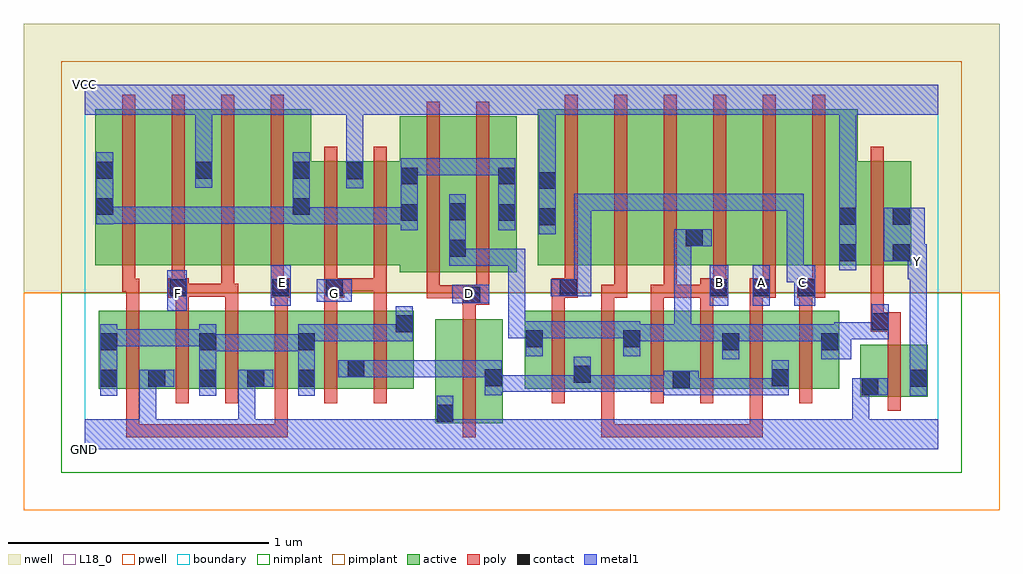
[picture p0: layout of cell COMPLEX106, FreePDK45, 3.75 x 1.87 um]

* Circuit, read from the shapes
.subckt COMPLEX106 A B C D E F G GND VCC Y
M1 GND E n1 VSUBS nfet w=0.3u l=0.05u m=2
M2 n1 F GND VSUBS nfet w=0.3u l=0.05u m=2
M3 n2 G n1 VSUBS nfet w=0.3u l=0.05u m=2
M4 n2 D GND VSUBS nfet w=0.4u l=0.05u
M5 n2 C n3 VSUBS nfet w=0.3u l=0.05u m=2
M6 n3 A n2 VSUBS nfet w=0.3u l=0.05u m=2
M7 n2 B n3 VSUBS nfet w=0.3u l=0.05u m=2
M8 Y n3 GND VSUBS nfet w=0.2u l=0.05u
M9 n4 E n5 n6 pfet w=0.6u l=0.05u
M10 VCC F n4 n6 pfet w=0.6u l=0.05u
M11 n7 F VCC n6 pfet w=0.6u l=0.05u
M12 n5 E n7 n6 pfet w=0.6u l=0.05u
M13 VCC G n5 n6 pfet w=0.4u l=0.05u m=2
M14 n3 D n5 n6 pfet w=0.6u l=0.05u m=2
M15 n8 C VCC n6 pfet w=0.6u l=0.05u
M16 n9 A n8 n6 pfet w=0.6u l=0.05u
M17 n3 B n9 n6 pfet w=0.6u l=0.05u
M18 n10 B n3 n6 pfet w=0.6u l=0.05u
M19 n11 A n10 n6 pfet w=0.6u l=0.05u
M20 VCC C n11 n6 pfet w=0.6u l=0.05u
M21 Y n3 VCC n6 pfet w=0.4u l=0.05u
.ends

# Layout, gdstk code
import gdstk
lib = gdstk.Library(unit=1e-6, precision=1e-09)
def R(c, l, rs):  # rectangles x0, y0, x1, y1
    for r in rs: c.add(gdstk.rectangle(r[:2], r[2:], *l))
def A(c, l, x, y, w, h, nx, ny, dx, dy):  # array of equal rectangles
    R(c, l, [(x+i*dx, y+j*dy, x+i*dx+w, y+j*dy+h) for i in range(nx) for j in range(ny)])
active = (1, 0)
pwell = (2, 0)
nwell = (3, 0)
nimplant = (4, 0)
pimplant = (5, 0)
poly = (9, 0)
contact = (10, 0)
metal1 = (11, 0)
L18_0 = (18, 0)
boundary = (235, 0)

complex106 = lib.new_cell('COMPLEX106')
A(complex106, active, 1.875, 0.232, 0.265, 0.3, 5, 1, 0.19, 0)
A(complex106, active, 1.875, 0.232, 0.075, 0.285, 3, 1, 0.38, 0)
R(complex106, active, [(1.347,0.1,1.607,0.5), (1.347,0.1,1.422,0.5), (1.532,0.147,1.607,0.5), (2.98,0.202,3.24,0.402), (2.98,0.202,3.055,0.402), (0.055,0.232,0.315,0.532), (0.24,0.232,0.51,0.532), (0.24,0.232,0.315,0.437), (0.435,0.232,0.51,0.517), (0.435,0.232,0.695,0.532), (0.62,0.232,0.89,0.532), (0.62,0.232,0.695,0.437), (0.815,0.232,1.08,0.532), (0.815,0.232,0.89,0.517), (1.005,0.232,1.08,0.517), (1.005,0.232,1.265,0.532), (1.69,0.232,1.95,0.532), (0.055,0.235,0.13,0.532), (2.825,0.235,2.9,0.532), (3.165,0.235,3.24,0.402), (1.19,0.247,1.265,0.532), (1.69,0.247,1.765,0.532), (2.065,0.247,2.14,0.462), (2.445,0.247,2.52,0.45), (1.21,0.68,1.47,1.28), (1.395,0.68,1.66,1.28), (1.395,0.68,1.47,1.07), (1.585,0.68,1.66,1.2), (0.04,0.707,0.265,1.307), (0.04,0.707,0.145,1.2), (0.265,0.707,0.495,1.307), (0.42,0.707,0.645,1.307), (0.42,0.707,0.495,1.307), (0.645,0.707,0.87,1.307), (0.795,0.707,1.075,1.107), (0.795,0.707,0.87,1.2), (1,0.707,1.285,1.107), (1.21,0.707,1.285,1.2), (1.74,0.707,1.965,1.307), (1.74,0.707,1.815,1.307), (1.965,0.707,2.155,1.307), (2.155,0.707,2.38,1.307), (2.305,0.707,2.535,1.307), (2.305,0.707,2.38,1.07), (2.535,0.707,2.725,1.307), (2.725,0.707,2.97,1.307), (2.895,0.707,2.97,1.057), (2.895,0.707,3.175,1.107), (3.1,0.707,3.175,1.057), (1,0.827,1.075,1.107)])
R(complex106, pwell, [(-0.235,-0.235,3.515,0.602)])
R(complex106, nwell, [(-0.235,0.602,3.515,1.635)])
R(complex106, nimplant, [(-0.09,-0.09,3.37,0.602)])
R(complex106, pimplant, [(-0.09,0.602,3.37,1.49)])
A(complex106, poly, 0.16, 0.177, 0.05, 0.41, 6, 1, 0.19, 0)
A(complex106, poly, 1.795, 0.177, 0.05, 0.41, 6, 1, 0.19, 0)
A(complex106, poly, 1.795, 0.537, 0.05, 0.095, 6, 1, 0.19, 0)
A(complex106, poly, 2.415, 0.607, 0.05, 0.095, 3, 1, 0.19, 0)
A(complex106, poly, 0.145, 0.652, 0.05, 0.71, 4, 1, 0.19, 0)
A(complex106, poly, 1.845, 0.652, 0.05, 0.71, 6, 1, 0.19, 0)
R(complex106, poly, [(0.16,0.045,0.21,0.227), (0.16,0.045,0.21,0.095), (0.16,0.045,0.402,0.095), (0.352,0.045,0.402,0.095), (0.352,0.045,0.402,0.095), (0.352,0.045,0.402,0.095), (0.352,0.045,0.535,0.095), (0.485,0.045,0.535,0.095), (0.485,0.045,0.535,0.095), (0.485,0.045,0.535,0.095), (0.485,0.045,0.78,0.095), (0.73,0.045,0.78,0.227), (0.73,0.045,0.78,0.095), (0.73,0.045,0.78,0.095), (0.73,0.045,0.78,0.095), (1.452,0.045,1.502,0.555), (1.985,0.045,2.035,0.227), (1.985,0.045,2.035,0.095), (1.985,0.045,2.035,0.095), (1.985,0.045,2.035,0.095), (1.985,0.045,2.282,0.095), (2.232,0.045,2.282,0.095), (2.232,0.045,2.282,0.095), (2.232,0.045,2.282,0.095), (2.232,0.045,2.415,0.095), (2.365,0.045,2.605,0.095), (2.365,0.045,2.415,0.095), (2.365,0.045,2.415,0.095), (2.365,0.045,2.415,0.095), (2.555,0.045,2.605,0.227), (2.555,0.045,2.605,0.095), (3.085,0.147,3.135,0.457), (3.085,0.407,3.135,0.502), (3.02,0.452,3.135,0.527), (3.02,0.477,3.07,0.702), (1.452,0.505,1.502,0.605), (0.16,0.537,0.21,0.655), (0.35,0.537,0.4,0.632), (0.54,0.537,0.59,0.635), (0.73,0.537,0.78,0.632), (0.92,0.537,0.97,0.632), (1.11,0.537,1.16,0.657), (1.45,0.555,1.555,0.63), (1.315,0.58,1.365,0.675), (1.315,0.58,1.365,0.63), (1.315,0.58,1.5,0.63), (1.45,0.58,1.5,0.63), (1.45,0.58,1.5,0.63), (1.505,0.58,1.555,0.675), (0.322,0.582,0.4,0.657), (0.715,0.582,0.79,0.657), (0.92,0.582,0.997,0.657), (1.795,0.582,1.895,0.657), (1.985,0.582,2.085,0.632), (2.035,0.582,2.085,0.702), (2.175,0.582,2.275,0.632), (2.225,0.582,2.275,0.632), (2.225,0.582,2.275,0.632), (2.225,0.582,2.415,0.632), (2.225,0.582,2.275,0.702), (2.365,0.582,2.472,0.657), (2.555,0.582,2.655,0.657), (2.737,0.582,2.845,0.657), (0.35,0.585,0.575,0.635), (0.525,0.585,0.575,0.635), (0.525,0.585,0.575,0.635), (0.525,0.585,0.575,0.702), (0.525,0.585,0.59,0.635), (0.145,0.605,0.21,0.655), (0.145,0.605,0.195,0.702), (0.335,0.607,0.385,0.702), (0.715,0.607,0.765,0.702), (0.92,0.607,0.97,0.702), (0.947,0.607,0.997,0.657), (0.947,0.607,0.997,0.657), (0.947,0.607,1.16,0.657), (1.11,0.607,1.16,0.702), (1.11,0.607,1.16,0.657), (1.845,0.607,1.895,0.702), (1.315,0.625,1.365,1.335), (1.505,0.625,1.555,1.335), (0.92,0.652,0.97,1.162), (1.11,0.652,1.16,1.162), (3.02,0.652,3.07,1.162)])
A(complex106, contact, 0.06, 0.38, 0.065, 0.065, 3, 1, 0.38, 0)
R(complex106, contact, [(1.352,0.105,1.417,0.17), (2.985,0.207,3.05,0.272), (2.26,0.237,2.325,0.302), (0.06,0.24,0.125,0.305), (0.245,0.24,0.31,0.305), (0.44,0.24,0.505,0.305), (0.625,0.24,0.69,0.305), (0.82,0.24,0.885,0.305), (3.17,0.24,3.235,0.305), (1.537,0.242,1.602,0.307), (2.64,0.242,2.705,0.307), (1.88,0.255,1.945,0.32), (1.01,0.277,1.075,0.342), (2.45,0.38,2.515,0.445), (2.83,0.38,2.895,0.445), (1.695,0.392,1.76,0.457), (2.07,0.392,2.135,0.457), (1.195,0.45,1.26,0.515), (3.025,0.457,3.09,0.522), (1.455,0.56,1.52,0.625), (0.327,0.587,0.392,0.652), (0.72,0.587,0.785,0.652), (0.927,0.587,0.992,0.652), (1.825,0.587,1.89,0.652), (2.402,0.587,2.467,0.652), (2.567,0.587,2.632,0.652), (2.742,0.587,2.807,0.652), (2.9,0.722,2.965,0.787), (3.105,0.722,3.17,0.787), (1.4,0.74,1.465,0.805), (2.31,0.78,2.375,0.845), (1.745,0.86,1.81,0.925), (2.9,0.862,2.965,0.927), (3.105,0.862,3.17,0.927), (1.215,0.877,1.28,0.942), (1.59,0.877,1.655,0.942), (1.4,0.88,1.465,0.945), (0.045,0.9,0.11,0.965), (0.8,0.9,0.865,0.965), (1.745,1,1.81,1.065), (1.215,1.017,1.28,1.082), (1.59,1.017,1.655,1.082), (1.005,1.037,1.07,1.102), (0.045,1.04,0.11,1.105), (0.425,1.04,0.49,1.105), (0.8,1.04,0.865,1.105)])
A(complex106, metal1, 0.06, 0.205, 0.065, 0.275, 3, 1, 0.38, 0)
R(complex106, metal1, [(0,0,3.28,0.115), (0.21,0.05,0.275,0.115), (0.21,0.05,0.275,0.115), (0.21,0.05,0.275,0.305), (0.59,0.05,0.655,0.305), (1.352,0.05,1.417,0.135), (2.95,0.05,3.015,0.115), (2.95,0.05,3.015,0.115), (2.95,0.05,3.015,0.115), (2.95,0.05,3.015,0.115), (2.95,0.05,3.015,0.272), (1.352,0.07,1.417,0.205), (3.17,0.205,3.235,0.34), (1.537,0.207,1.602,0.342), (2.225,0.207,2.36,0.302), (2.295,0.207,2.427,0.272), (2.362,0.207,2.427,0.272), (2.362,0.207,2.567,0.272), (2.502,0.207,2.567,0.272), (2.502,0.207,2.567,0.272), (2.502,0.207,2.567,0.272), (2.502,0.207,2.705,0.272), (2.64,0.207,2.705,0.342), (2.95,0.207,3.085,0.272), (1.537,0.22,1.74,0.285), (1.675,0.22,1.74,0.285), (1.675,0.22,1.945,0.285), (1.88,0.22,1.945,0.285), (1.88,0.22,1.945,0.285), (1.88,0.22,1.945,0.355), (1.88,0.22,2.085,0.285), (2.02,0.22,2.085,0.285), (2.02,0.22,2.085,0.285), (2.02,0.22,2.085,0.285), (2.02,0.22,2.29,0.285), (2.225,0.22,2.29,0.285), (2.225,0.22,2.29,0.285), (0.21,0.24,0.345,0.305), (0.59,0.24,0.655,0.305), (0.59,0.24,0.655,0.305), (0.59,0.24,0.725,0.305), (3.17,0.275,3.235,0.717), (0.975,0.277,1.11,0.342), (1.045,0.277,1.11,0.342), (1.045,0.277,1.11,0.342), (1.045,0.277,1.28,0.342), (1.215,0.277,1.28,0.342), (1.215,0.277,1.28,0.342), (1.215,0.277,1.28,0.342), (1.215,0.277,1.417,0.342), (1.352,0.277,1.417,0.342), (1.352,0.277,1.602,0.342), (1.537,0.277,1.602,0.342), (1.537,0.277,1.602,0.342), (2.45,0.345,2.515,0.48), (2.83,0.345,2.945,0.48), (1.695,0.357,1.76,0.492), (2.07,0.357,2.135,0.492), (0.44,0.377,0.505,0.442), (0.44,0.377,0.505,0.442), (0.44,0.377,0.715,0.442), (0.65,0.377,0.715,0.442), (0.65,0.377,0.715,0.442), (0.65,0.377,0.715,0.442), (0.65,0.377,0.885,0.442), (0.06,0.395,0.125,0.46), (0.06,0.395,0.125,0.46), (0.06,0.395,0.352,0.46), (0.287,0.395,0.352,0.46), (0.287,0.395,0.352,0.46), (0.287,0.395,0.352,0.46), (0.287,0.395,0.505,0.46), (0.82,0.415,0.94,0.48), (0.875,0.415,0.94,0.48), (0.875,0.415,1.122,0.48), (1.057,0.415,1.122,0.48), (1.057,0.415,1.122,0.48), (1.057,0.415,1.122,0.48), (1.057,0.415,1.26,0.48), (1.195,0.415,1.26,0.55), (2.07,0.415,2.29,0.48), (2.225,0.415,2.29,0.48), (2.225,0.415,2.33,0.48), (2.265,0.415,2.33,0.48), (2.265,0.415,2.33,0.48), (2.265,0.415,2.33,0.48), (2.265,0.415,2.43,0.48), (2.265,0.415,2.33,0.845), (2.365,0.415,2.43,0.48), (2.365,0.415,2.515,0.48), (2.45,0.415,2.572,0.48), (2.507,0.415,2.572,0.48), (2.507,0.415,2.705,0.48), (2.64,0.415,2.705,0.48), (2.64,0.415,2.807,0.48), (2.742,0.415,2.807,0.48), (2.742,0.415,2.895,0.48), (2.88,0.415,2.945,0.487), (2.88,0.422,2.945,0.487), (2.88,0.422,2.945,0.487), (2.88,0.422,2.945,0.487), (2.88,0.422,3.09,0.487), (3.025,0.422,3.09,0.557), (1.627,0.427,1.692,0.492), (1.627,0.427,1.76,0.492), (1.627,0.427,1.692,0.77), (1.695,0.427,1.947,0.492), (1.882,0.427,1.947,0.492), (1.882,0.427,1.947,0.492), (1.882,0.427,1.947,0.492), (1.882,0.427,2.135,0.492), (2.07,0.427,2.135,0.492), (2.07,0.427,2.135,0.492), (0.317,0.532,0.392,0.687), (0.715,0.552,0.792,0.707), (2.402,0.552,2.472,0.707), (2.567,0.552,2.632,0.707), (2.727,0.552,2.807,0.707), (1.412,0.56,1.555,0.632), (0.892,0.567,1.027,0.652), (1.79,0.587,1.925,0.652), (1.86,0.587,1.947,0.652), (1.882,0.587,1.947,0.652), (1.882,0.587,1.947,0.982), (2.697,0.642,2.762,0.707), (2.697,0.642,2.792,0.707), (2.697,0.642,2.762,0.982), (3.162,0.652,3.235,0.787), (2.9,0.687,2.965,0.962), (1.4,0.705,1.465,0.77), (1.4,0.705,1.465,0.77), (1.4,0.705,1.465,0.98), (1.4,0.705,1.692,0.77), (1.627,0.705,1.692,0.77), (1.627,0.705,1.692,0.77), (1.627,0.705,1.692,0.77), (3.07,0.722,3.227,0.927), (3.162,0.722,3.227,0.787), (2.265,0.78,2.41,0.845), (1.745,0.825,1.81,1.1), (1.215,0.842,1.28,1.117), (1.59,0.842,1.655,1.117), (0.045,0.865,0.11,1.14), (0.8,0.865,0.865,0.93), (0.8,0.865,0.865,0.93), (0.8,0.865,0.865,1.14), (0.8,0.865,1.122,0.93), (1.057,0.865,1.122,0.93), (1.057,0.865,1.122,0.93), (1.057,0.865,1.122,0.93), (1.057,0.865,1.28,0.93), (0.045,0.867,0.11,0.932), (0.045,0.867,0.11,0.932), (0.045,0.867,0.352,0.932), (0.287,0.867,0.352,0.932), (0.287,0.867,0.352,0.932), (0.287,0.867,0.352,0.932), (0.287,0.867,0.517,0.932), (0.452,0.867,0.517,0.932), (0.452,0.867,0.517,0.932), (0.452,0.867,0.517,0.932), (0.452,0.867,0.655,0.932), (0.59,0.867,0.655,0.932), (0.59,0.867,0.655,0.932), (0.59,0.867,0.655,0.932), (0.59,0.867,0.865,0.932), (2.9,0.897,2.965,1.35), (1.882,0.917,1.947,0.982), (1.882,0.917,2.152,0.982), (2.087,0.917,2.152,0.982), (2.087,0.917,2.152,0.982), (2.087,0.917,2.152,0.982), (2.087,0.917,2.152,0.982), (2.087,0.917,2.152,0.982), (2.087,0.917,2.29,0.982), (2.225,0.917,2.29,0.982), (2.225,0.917,2.29,0.982), (2.225,0.917,2.29,0.982), (2.225,0.917,2.427,0.982), (2.362,0.917,2.427,0.982), (2.362,0.917,2.567,0.982), (2.502,0.917,2.567,0.982), (2.502,0.917,2.567,0.982), (2.502,0.917,2.567,0.982), (2.502,0.917,2.567,0.982), (2.502,0.917,2.567,0.982), (2.502,0.917,2.762,0.982), (2.697,0.917,2.762,0.982), (1.005,1.002,1.07,1.137), (0.425,1.005,0.49,1.14), (1.745,1.035,1.81,1.35), (1.215,1.052,1.28,1.117), (1.215,1.052,1.28,1.117), (1.215,1.052,1.28,1.117), (1.215,1.052,1.28,1.117), (1.215,1.052,1.417,1.117), (1.352,1.052,1.417,1.117), (1.352,1.052,1.417,1.117), (1.352,1.052,1.417,1.117), (1.352,1.052,1.655,1.117), (1.005,1.072,1.07,1.35), (0.425,1.075,0.49,1.35), (0,1.285,3.28,1.4), (1.005,1.285,1.07,1.35), (1.005,1.285,1.07,1.35)])
A(complex106, L18_0, 2.407, 0.607, 0.065, 0.065, 3, 1, 0.16, 0)
R(complex106, L18_0, [(0,0,3.28,0.115), (0.21,0.05,0.275,0.115), (0.21,0.05,0.275,0.115), (0.21,0.05,0.275,0.305), (0.59,0.05,0.655,0.305), (1.352,0.05,1.417,0.135), (2.95,0.05,3.015,0.115), (2.95,0.05,3.015,0.115), (2.95,0.05,3.015,0.115), (2.95,0.05,3.015,0.115), (2.95,0.05,3.015,0.272), (1.352,0.07,1.417,0.205), (3.17,0.205,3.235,0.34), (2.95,0.207,3.085,0.272), (0.21,0.24,0.345,0.305), (0.59,0.24,0.655,0.305), (0.59,0.24,0.655,0.305), (0.59,0.24,0.725,0.305), (3.17,0.275,3.235,0.717), (0.317,0.532,0.392,0.687), (0.715,0.552,0.792,0.707), (2.402,0.552,2.472,0.707), (2.567,0.552,2.632,0.707), (2.727,0.552,2.807,0.707), (1.412,0.56,1.555,0.632), (0.327,0.567,0.392,0.632), (0.892,0.567,1.027,0.652), (0.927,0.567,0.992,0.632), (1.447,0.567,1.512,0.632), (1.79,0.587,1.925,0.652), (1.86,0.587,1.947,0.652), (1.882,0.587,1.947,0.652), (1.882,0.587,1.947,0.982), (0.727,0.607,0.792,0.672), (2.697,0.642,2.762,0.707), (2.697,0.642,2.762,0.982), (2.697,0.642,2.792,0.707), (3.162,0.652,3.235,0.787), (2.9,0.687,2.965,0.962), (3.167,0.687,3.232,0.752), (3.07,0.722,3.227,0.927), (3.162,0.722,3.227,0.787), (1.745,0.825,1.81,1.1), (2.9,0.897,2.965,1.35), (1.882,0.917,1.947,0.982), (1.882,0.917,2.152,0.982), (2.087,0.917,2.152,0.982), (2.087,0.917,2.152,0.982), (2.087,0.917,2.152,0.982), (2.087,0.917,2.152,0.982), (2.087,0.917,2.152,0.982), (2.087,0.917,2.29,0.982), (2.225,0.917,2.29,0.982), (2.225,0.917,2.29,0.982), (2.225,0.917,2.29,0.982), (2.225,0.917,2.427,0.982), (2.362,0.917,2.427,0.982), (2.362,0.917,2.567,0.982), (2.502,0.917,2.567,0.982), (2.502,0.917,2.567,0.982), (2.502,0.917,2.567,0.982), (2.502,0.917,2.567,0.982), (2.502,0.917,2.567,0.982), (2.502,0.917,2.762,0.982), (2.697,0.917,2.762,0.982), (1.005,1.002,1.07,1.137), (0.425,1.005,0.49,1.14), (1.745,1.035,1.81,1.35), (1.005,1.072,1.07,1.35), (0.425,1.075,0.49,1.35), (0,1.285,3.28,1.4), (1.005,1.285,1.07,1.35), (1.005,1.285,1.07,1.35)])
R(complex106, boundary, [(0,0,3.28,1.4)])
complex106.add(gdstk.Label('A', (2.6,0.64), layer=11, texttype=0))
complex106.add(gdstk.Label('B', (2.44,0.64), layer=11, texttype=0))
complex106.add(gdstk.Label('C', (2.76,0.64), layer=11, texttype=0))
complex106.add(gdstk.Label('D', (1.48,0.6), layer=11, texttype=0))
complex106.add(gdstk.Label('E', (0.76,0.64), layer=11, texttype=0))
complex106.add(gdstk.Label('F', (0.36,0.6), layer=11, texttype=0))
complex106.add(gdstk.Label('G', (0.96,0.6), layer=11, texttype=0))
complex106.add(gdstk.Label('Y', (3.2,0.72), layer=11, texttype=0))
complex106.add(gdstk.Label('VCC', (0,1.4), layer=11, texttype=0))
complex106.add(gdstk.Label('GND', (0,0), layer=11, texttype=0))

lib.write_gds('COMPLEX106.gds')
